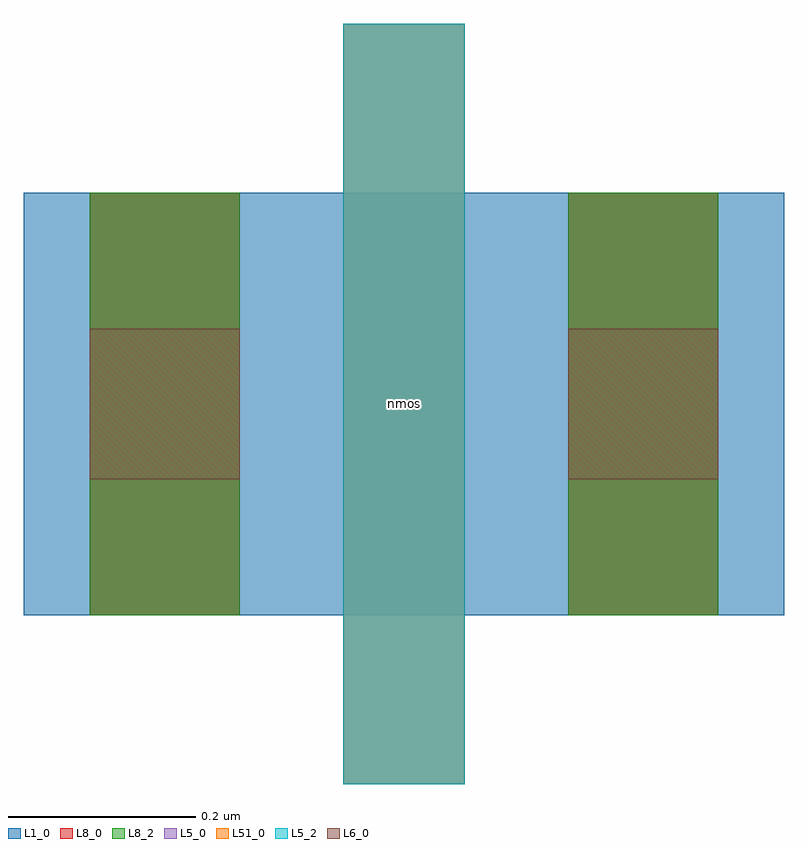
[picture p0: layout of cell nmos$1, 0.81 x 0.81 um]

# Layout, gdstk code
import gdstk
lib = gdstk.Library(unit=1e-6, precision=5e-09)
def R(c, l, rs):  # rectangles x0, y0, x1, y1
    for r in rs: c.add(gdstk.rectangle(r[:2], r[2:], *l))
L1_0 = (1, 0)
L5_0 = (5, 0)
L5_2 = (5, 2)
L6_0 = (6, 0)
L8_0 = (8, 0)
L8_2 = (8, 2)
L51_0 = (51, 0)

nmos_1 = lib.new_cell('nmos$1')
R(nmos_1, L1_0, [(0,0.01,0.3,0.31), (0,0.01,0.81,0.46), (0.51,0.01,0.81,0.31)])
R(nmos_1, L5_0, [(0.34,-0.17,0.47,0.64)])
R(nmos_1, L5_2, [(0.34,-0.17,0.47,0.64)])
R(nmos_1, L6_0, [(0.07,0.155,0.23,0.315), (0.58,0.155,0.74,0.315)])
R(nmos_1, L8_0, [(0.07,0.01,0.23,0.46), (0.58,0.01,0.74,0.46)])
R(nmos_1, L8_2, [(0.07,0.01,0.23,0.46), (0.58,0.01,0.74,0.46)])
R(nmos_1, L51_0, [(0.34,-0.17,0.47,0.64)])
nmos_1.add(gdstk.Label('nmos', (0.405,0.235), layer=63, texttype=0))
nmos_1.add(gdstk.Label('nmos', (0.405,0.235), layer=51, texttype=0))

lib.write_gds('nmos_1.gds')
